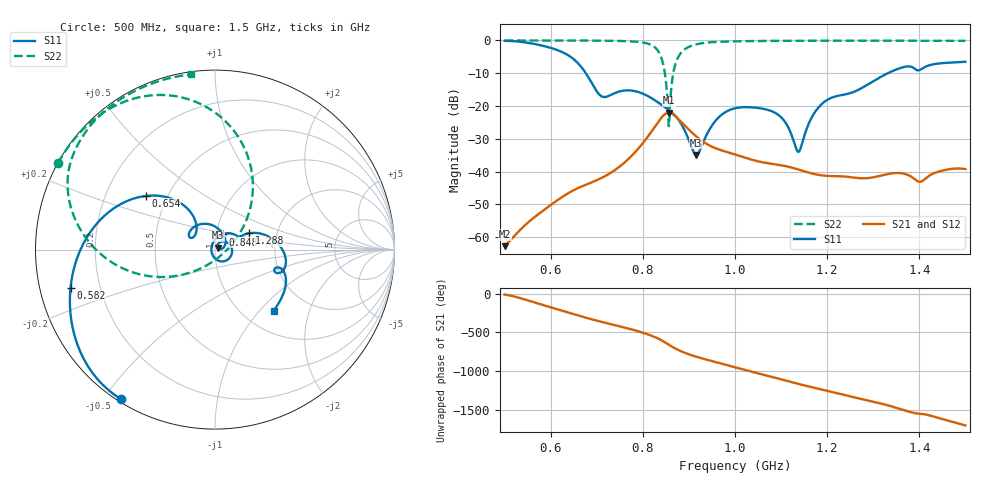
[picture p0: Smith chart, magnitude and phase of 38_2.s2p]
! TOUCHSTONE file generated by CST MICROWAVE STUDIO
! Date and time: Wed Oct 28 19:40:36 2020
! Project name: Scenario_1_Circular_Tissue_out_of_Line_v2.cst
! Parameters = {dy1=294.1; L_HA=400; MT=2.54; Rad_Dielectric=30; Rad_Lower=7.3; Rad_Upper=30; a_HA=580; a_WG=246; b_HA=500; b_WG=121; c_HA=0; c_WG=187; d_feed=85; dx1=346; h_feed=15; h_lower=18; h_upper=40}
! Header version: 2018
! Port assignment regex: !\s*Touchstone port\s*([0-9]+)\s*=\s*(CST MWS port|CST DS port)\s*([0-9]+|Zmin|Zmax)\s*\(\"(.*)\"\)(\s*mode\s*([0-9]+))?.*
! Touchstone port assignment:
! Touchstone port 1 = CST MWS port 1 ("")
! Touchstone port 2 = CST MWS port 2 ("")
# GHz S DB R 50
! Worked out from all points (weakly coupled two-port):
!   1003 points, 500 MHz to 1.5 GHz, reference 50 ohm
!   highest |S21| = -22.06 dB at 856 MHz (marker M1); lowest = -62.7 dB at 500 MHz (marker M2)
!   lowest |S11| = -34.9 dB at 916 MHz (marker M3), VSWR 1.04, Z = 51.5 + j1.03 ohm
!   |S11| at or under -10 dB: 676.2 MHz to 1.332 GHz (655.4 MHz wide, 65.3 % of centre)
!   |S22| runs from -26.2 to 0.0 dB; largest |S21 - S12| = 1.4e-06
!   S11 on the Smith chart (normalised r, x): 500 MHz: 0.01, -0.55; 582 MHz: 0.09, -0.13; 654 MHz: 0.38, +0.30; 848 MHz: 1.08, +0.18; 1.288 GHz: 1.44, +0.28; 1.5 GHz: 1.36, -1.20
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0.5  -0.14 -122.2  -62.72 -10.9  -62.72 -10.9  -0.01 151.1
0.582  -1.60 -165.3  -52.04 -144.5  -52.04 -144.5  -0.02 145.5
0.654  -6.23 142.2  -45.37 87.4  -45.37 87.4  -0.03 139.6
0.667  -8.21 131.9  -44.54 64.9  -44.54 64.9  -0.04 138.3
0.711  -17.08 139.6  -41.87 -5.4  -41.87 -5.4  -0.08 133.5
0.78  -15.38 129.6  -34.54 -109.7  -34.54 -109.7  -0.33 120.2
0.816  -17.35 95.3  -28.33 -177.6  -28.33 -177.6  -1.23 102.3
0.834  -18.98 76.8  -24.71 136.8  -24.71 136.8  -3.42 81.4
0.848  -20.37 61.7  -22.48 90.5  -22.48 90.5  -10.14 50.4
0.856  -21.20 52.5  -22.06 60.7  -22.06 60.7  -26.15 -28.7
0.875  -23.75 27.7  -23.69 -3.2  -23.69 -3.2  -5.59 -168.6
0.916  -34.89 33.8  -29.28 -96.5  -29.28 -96.5  -1.19 159.6
0.958  -24.44 48.3  -32.87 -165.3  -32.87 -165.3  -0.47 147.1
1  -20.68 7.1  -34.75 127.3  -34.75 127.3  -0.28 140.2
1.091  -22.40 -60.1  -37.83 -13.8  -37.83 -13.8  -0.13 130.5
1.137  -33.97 -175.7  -39.33 -87.5  -39.33 -87.5  -0.11 126.5
1.167  -23.35 80.8  -40.56 -131.4  -40.56 -131.4  -0.09 124.1
1.201  -18.07 46.5  -41.30 -178.0  -41.30 -178.0  -0.09 121.5
1.288  -13.45 25.5  -41.95 58.7  -41.95 58.7  -0.08 114.9
1.334  -9.84 11.2  -40.66 -9.6  -40.66 -9.6  -0.09 111.4
1.402  -8.95 -16.2  -43.09 -114.8  -43.09 -114.8  -0.10 106.1
1.5  -6.51 -46.2  -39.23 93.9  -39.23 93.9  -0.13 97.8
